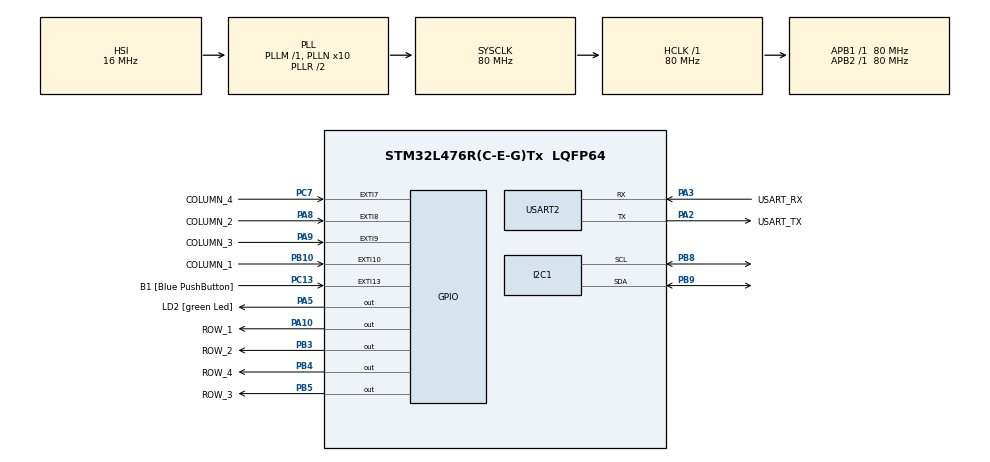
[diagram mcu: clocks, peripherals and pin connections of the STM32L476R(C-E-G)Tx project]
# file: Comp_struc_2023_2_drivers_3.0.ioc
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I2C1.Timing=0x10909CEC
Mcu.Family=STM32L4
Mcu.Name=STM32L476R(C-E-G)Tx
Mcu.Package=LQFP64
NVIC.EXTI15_10_IRQn=true\:0\:0\:false\:false\:true\:true\:true\:true
NVIC.EXTI9_5_IRQn=true\:0\:0\:false\:false\:true\:true\:true\:true
NVIC.PriorityGroup=NVIC_PRIORITYGROUP_4
NVIC.USART2_IRQn=true\:0\:0\:false\:false\:true\:true\:true\:true
PA10.GPIO_Label=ROW_1
PA10.Signal=GPIO_Output
PA13\ (JTMS-SWDIO).GPIO_Label=TMS
PA13\ (JTMS-SWDIO).Mode=Serial_Wire
PA13\ (JTMS-SWDIO).Signal=SYS_JTMS-SWDIO
PA14\ (JTCK-SWCLK).GPIO_Label=TCK
PA14\ (JTCK-SWCLK).Mode=Serial_Wire
PA14\ (JTCK-SWCLK).Signal=SYS_JTCK-SWCLK
PA2.GPIO_Label=USART_TX
PA2.GPIO_Mode=GPIO_MODE_AF_PP
PA2.GPIO_PuPd=GPIO_NOPULL
PA2.GPIO_Speed=GPIO_SPEED_FREQ_VERY_HIGH
PA2.Mode=Asynchronous
PA2.Signal=USART2_TX
PA3.GPIO_Label=USART_RX
PA3.GPIO_Mode=GPIO_MODE_AF_PP
PA3.GPIO_PuPd=GPIO_NOPULL
PA3.GPIO_Speed=GPIO_SPEED_FREQ_VERY_HIGH
PA3.Mode=Asynchronous
PA3.Signal=USART2_RX
PA5.GPIO_Label=LD2 [green Led]
PA5.GPIO_ModeDefaultOutputPP=GPIO_MODE_OUTPUT_PP
PA5.GPIO_PuPd=GPIO_NOPULL
PA5.GPIO_Speed=GPIO_SPEED_FREQ_LOW
PA5.Signal=GPIO_Output
PA8.GPIO_Label=COLUMN_2
PA8.GPIO_PuPd=GPIO_PULLDOWN
PA8.Signal=GPXTI8
PA9.GPIO_Label=COLUMN_3
PA9.GPIO_PuPd=GPIO_PULLDOWN
PA9.Signal=GPXTI9
PB10.GPIO_Label=COLUMN_1
PB10.GPIO_PuPd=GPIO_PULLDOWN
PB10.Signal=GPXTI10
PB3\ (JTDO-TRACESWO).GPIO_Label=ROW_2
PB3\ (JTDO-TRACESWO).Signal=GPIO_Output
PB4\ (NJTRST).GPIO_Label=ROW_4
PB4\ (NJTRST).Signal=GPIO_Output
PB5.GPIO_Label=ROW_3
PB5.Signal=GPIO_Output
PB8.Mode=I2C
PB8.Signal=I2C1_SCL
PB9.Mode=I2C
PB9.Signal=I2C1_SDA
PC13.GPIO_Label=B1 [Blue PushButton]
PC13.GPIO_ModeDefaultEXTI=GPIO_MODE_IT_FALLING
PC13.GPIO_PuPd=GPIO_NOPULL
PC13.Signal=GPXTI13
PC14-OSC32_IN\ (PC14).Mode=LSE-External-Oscillator
PC14-OSC32_IN\ (PC14).Signal=RCC_OSC32_IN
PC15-OSC32_OUT\ (PC15).Mode=LSE-External-Oscillator
PC15-OSC32_OUT\ (PC15).Signal=RCC_OSC32_OUT
PC7.GPIO_Label=COLUMN_4
PC7.GPIO_PuPd=GPIO_PULLDOWN
PC7.Signal=GPXTI7
PH0-OSC_IN\ (PH0).Signal=RCC_OSC_IN
PH1-OSC_OUT\ (PH1).Signal=RCC_OSC_OUT
ProjectManager.HeapSize=0x200
ProjectManager.StackSize=0x400
ProjectManager.TargetToolchain=STM32CubeIDE
RCC.ADCFreq_Value=64000000
RCC.AHBFreq_Value=80000000
RCC.APB1Freq_Value=80000000
RCC.APB1TimFreq_Value=80000000
RCC.APB2Freq_Value=80000000
RCC.APB2TimFreq_Value=80000000
RCC.CortexFreq_Value=80000000
RCC.HCLKFreq_Value=80000000
RCC.HSE_VALUE=8000000
RCC.HSI_VALUE=16000000
RCC.MSI_VALUE=4000000
RCC.PLLN=10
RCC.PLLSourceVirtual=RCC_PLLSOURCE_HSI
RCC.PREFETCH_ENABLE=1
RCC.SYSCLKFreq_VALUE=80000000
RCC.SYSCLKSource=RCC_SYSCLKSOURCE_PLLCLK
RCC.USBFreq_Value=64000000
RCC.VCOOutputFreq_Value=160000000
USART2.VirtualMode-Asynchronous=VM_ASYNC
board=NUCLEO-L476RG

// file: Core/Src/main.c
/* USER CODE BEGIN Header */
/**
  ******************************************************************************
  * @file           : main.c
  * @brief          : Main program body
  ******************************************************************************
  * @attention
  *
  * Copyright (c) 2023 STMicroelectronics.
  * All rights reserved.
  *
  * This software is licensed under terms that can be found in the LICENSE file
  * in the root directory of this software component.
  * If no LICENSE file comes with this software, it is provided AS-IS.
  *
  ******************************************************************************
  */
/* USER CODE END Header */
#include "main.h"

/* USER CODE BEGIN Includes */
#include <stdio.h>

#include "ring_buffer.h"
#include "ssd1306.h"
#include "ssd1306_fonts.h"

/* USER CODE END Includes */

I2C_HandleTypeDef hi2c1;

UART_HandleTypeDef huart2;

/* USER CODE BEGIN PV */
ring_buffer_t ring_buffer_uart_rx;
uint8_t rx_buffer[16];
uint8_t rx_data;
ring_buffer_t ring_buffer_keypad;
uint8_t keypad_data[5];
uint8_t birth_year [5] = "2002";
uint16_t key_event = 0xFF;
/* USER CODE END PV */

void SystemClock_Config(void);
static void MX_GPIO_Init(void);
static void MX_USART2_UART_Init(void);
static void MX_I2C1_Init(void);

/* USER CODE BEGIN 0 */

int _write(int file, char *ptr, int len)
{
  HAL_UART_Transmit(&huart2, (uint8_t *)ptr, len, HAL_MAX_DELAY);
  return len;
}
/**
  * @brief  Rx Transfer completed callback.
  * @param  huart UART handle.
  * @retval None
  */
void HAL_UART_RxCpltCallback(UART_HandleTypeDef *huart)
{
	if (ring_buffer_put(&ring_buffer_uart_rx, rx_data) == 0) {
		printf("Rx buffer is full\r\n");
	}

	HAL_UART_Receive_IT(&huart2, &rx_data, 1);
}

/**
  * @brief  EXTI line detection callback.
  * @param  GPIO_Pin Specifies the port pin connected
  *         to corresponding EXTI line.
  * @retval None
  */
void HAL_GPIO_EXTI_Callback(uint16_t GPIO_Pin)
{
	key_event = GPIO_Pin;
}

#include <stdio.h>  // Se asume que se incluye la librería necesaria para printf

void validate_birth_year(void) {
    uint8_t temp_buffer[5];
    for (uint8_t idx = 0; idx < 5; idx++) {
        ring_buffer_get(&ring_buffer_keypad, &temp_buffer[idx]);
    }
    if (memcmp(birth_year, temp_buffer, 5) == 0) {
        printf("Success\r\n");
    } else {
        printf("Fail\r\n");  // Corregido de 'print' a 'printf'
    }

}
void ring_buffer_init(ring_buffer_t *ring_buffer, uint8_t *buffer, uint16_t capacity);

void process_key_press (uint8_t key_pressed){
	ring_buffer_put (&ring_buffer_keypad, key_pressed);
	if (key_pressed == "*"){
		ring_buffer_reset(&ring_buffer_keypad);
	}else if (ring_buffer_is_full(&ring_buffer_keypad)!=0){
		validate_birth_year();
	}
}
/**
 * @brief This functions initialize the functionality of the keypad
 */
void keypad_init(void)
{
	/* Set the rows high to be detected in the columns by rising interrupt */
	ROW_1_GPIO_Port->BSRR = ROW_1_Pin;
	ROW_2_GPIO_Port->BSRR = ROW_2_Pin;
	ROW_3_GPIO_Port->BSRR = ROW_3_Pin;
	ROW_4_GPIO_Port->BSRR = ROW_4_Pin;
}

/**
 * @brief  This function debounces and identify keypad events.
 * @param  column_to_evaluate: the column where the event happened.
 * @retval 0xFF -> invalid key. [0x00 - 0x0F] -> valid key.
 */
uint8_t keypad_handler(uint16_t column_to_evaluate)
{
	uint8_t key_pressed = 0xFF; // Value to return

	/*** Debounce the key press (remove noise in the key) ***/
#define KEY_DEBOUNCE_MS 300 /*!> Minimum time required for since last press */
	static uint32_t last_pressed_tick = 0;
	if (HAL_GetTick() <= (last_pressed_tick + KEY_DEBOUNCE_MS)) {
		// less than KEY_DEBOUNCE_MS since last press. Probably noise
		return key_pressed; // return 0xFF
	}
	last_pressed_tick = HAL_GetTick();

	/*** Check in which column the event happened ***/
	switch (column_to_evaluate) {
	case COLUMN_1_Pin:
		ROW_1_GPIO_Port->BSRR = ROW_1_Pin; // turn on row 1
		ROW_2_GPIO_Port->BRR = ROW_2_Pin;  // turn off row 2
		ROW_3_GPIO_Port->BRR = ROW_3_Pin;  // turn off row 3
		ROW_4_GPIO_Port->BRR = ROW_4_Pin;  // turn off row 4
		HAL_Delay(2); // wait for voltage to establish
		if (COLUMN_1_GPIO_Port->IDR & COLUMN_1_Pin) {
			key_pressed = 0x01; // if column 1 is still high -> column 1 + row 1 = key 1
			break;
		}

		ROW_1_GPIO_Port->BRR = ROW_1_Pin; 	// turn off row 1
		ROW_2_GPIO_Port->BSRR = ROW_2_Pin; 	// turn on row 2
		HAL_Delay(2); // wait for voltage to establish
		if (COLUMN_1_GPIO_Port->IDR & COLUMN_1_Pin) {
			key_pressed = 0x04; // if column 1 is still high -> column 1 + row 2 = key 4
			break;
		}

		ROW_2_GPIO_Port->BRR = ROW_2_Pin; 	// turn off row 2
		ROW_3_GPIO_Port->BSRR = ROW_3_Pin; 	// turn on row 3
		HAL_Delay(2); // wait for voltage to establish
		if (COLUMN_1_GPIO_Port->IDR & COLUMN_1_Pin) {
			key_pressed = 0x07; // if column 1 is still high -> column 1 + row 3 = key 7
			break;
		}

		ROW_3_GPIO_Port->BRR = ROW_3_Pin;	// turn off row 3
		ROW_4_GPIO_Port->BSRR = ROW_4_Pin; 	// turn on row 4
		HAL_Delay(2); // wait for voltage to establish
		if (COLUMN_1_GPIO_Port->IDR & COLUMN_1_Pin) {
			key_pressed = 0x0E; // if column 1 is still high -> column 1 + row 4 = key *
			break;
		}
	  break;

	case COLUMN_2_Pin:
		ROW_1_GPIO_Port->BSRR = ROW_1_Pin; // turn on row 1
		ROW_2_GPIO_Port->BRR = ROW_2_Pin;  // turn off row 2
		ROW_3_GPIO_Port->BRR = ROW_3_Pin;  // turn off row 3
		ROW_4_GPIO_Port->BRR = ROW_4_Pin;  // turn off row 4
		HAL_Delay(2); // wait for voltage to establish
		if (COLUMN_2_GPIO_Port->IDR & COLUMN_2_Pin) {
			key_pressed = 0x02; // if column 1 is still high -> column 1 + row 1 = key 1
			break;
		}

		ROW_1_GPIO_Port->BRR = ROW_1_Pin; 	// turn off row 1
		ROW_2_GPIO_Port->BSRR = ROW_2_Pin; 	// turn on row 2
		HAL_Delay(2); // wait for voltage to establish
		if (COLUMN_2_GPIO_Port->IDR & COLUMN_2_Pin) {
			key_pressed = 0x05; // if column 1 is still high -> column 1 + row 2 = key 4
			break;
		}

		ROW_2_GPIO_Port->BRR = ROW_2_Pin; 	// turn off row 2
		ROW_3_GPIO_Port->BSRR = ROW_3_Pin; 	// turn on row 3
		HAL_Delay(2); // wait for voltage to establish
		if (COLUMN_2_GPIO_Port->IDR & COLUMN_2_Pin) {
			key_pressed = 0x08; // if column 1 is still high -> column 1 + row 3 = key 7
			break;
		}

		ROW_3_GPIO_Port->BRR = ROW_3_Pin;	// turn off row 3
		ROW_4_GPIO_Port->BSRR = ROW_4_Pin; 	// turn on row 4
		HAL_Delay(2); // wait for voltage to establish
		if (COLUMN_2_GPIO_Port->IDR & COLUMN_2_Pin) {
			key_pressed = 0x00; // if column 1 is still high -> column 1 + row 4 = key *
			break;
		}
	  break;

	case COLUMN_3_Pin:
		ROW_1_GPIO_Port->BSRR = ROW_1_Pin; // turn on row 1
		ROW_2_GPIO_Port->BRR = ROW_2_Pin;  // turn off row 2
		ROW_3_GPIO_Port->BRR = ROW_3_Pin;  // turn off row 3
		ROW_4_GPIO_Port->BRR = ROW_4_Pin;  // turn off row 4
		HAL_Delay(2); // wait for voltage to establish
		if (COLUMN_3_GPIO_Port->IDR & COLUMN_3_Pin) {
			key_pressed = 0x03; // if column 1 is still high -> column 1 + row 1 = key 1
			break;
		}

		ROW_1_GPIO_Port->BRR = ROW_1_Pin; 	// turn off row 1
		ROW_2_GPIO_Port->BSRR = ROW_2_Pin; 	// turn on row 2
		HAL_Delay(2); // wait for voltage to establish
		if (COLUMN_3_GPIO_Port->IDR & COLUMN_3_Pin) {
			key_pressed = 0x06; // if column 1 is still high -> column 1 + row 2 = key 4
			break;
		}

		ROW_2_GPIO_Port->BRR = ROW_2_Pin; 	// turn off row 2
		ROW_3_GPIO_Port->BSRR = ROW_3_Pin; 	// turn on row 3
		HAL_Delay(2); // wait for voltage to establish
		if (COLUMN_3_GPIO_Port->IDR & COLUMN_3_Pin) {
			key_pressed = 0x09; // if column 1 is still high -> column 1 + row 3 = key 7
			break;
		}

		ROW_3_GPIO_Port->BRR = ROW_3_Pin;	// turn off row 3
		ROW_4_GPIO_Port->BSRR = ROW_4_Pin; 	// turn on row 4
		HAL_Delay(2); // wait for voltage to establish
		if (COLUMN_3_GPIO_Port->IDR & COLUMN_3_Pin) {
			key_pressed = 0x0F; // if column 1 is still high -> column 1 + row 4 = key *
			break;
		}
	  break;

	case COLUMN_4_Pin:
		ROW_1_GPIO_Port->BSRR = ROW_1_Pin; // turn on row 1
		ROW_2_GPIO_Port->BRR = ROW_2_Pin;  // turn off row 2
		ROW_3_GPIO_Port->BRR = ROW_3_Pin;  // turn off row 3
		ROW_4_GPIO_Port->BRR = ROW_4_Pin;  // turn off row 4
		HAL_Delay(2); // wait for voltage to establish
		if (COLUMN_4_GPIO_Port->IDR & COLUMN_4_Pin) {
			key_pressed = 0x0A; // if column 1 is still high -> column 1 + row 1 = key 1
			break;
		}

		ROW_1_GPIO_Port->BRR = ROW_1_Pin; 	// turn off row 1
		ROW_2_GPIO_Port->BSRR = ROW_2_Pin; 	// turn on row 2
		HAL_Delay(2); // wait for voltage to establish
		if (COLUMN_4_GPIO_Port->IDR & COLUMN_4_Pin) {
			key_pressed = 0x0B; // if column 1 is still high -> column 1 + row 2 = key 4
			break;
		}

		ROW_2_GPIO_Port->BRR = ROW_2_Pin; 	// turn off row 2
		ROW_3_GPIO_Port->BSRR = ROW_3_Pin; 	// turn on row 3
		HAL_Delay(2); // wait for voltage to establish
		if (COLUMN_4_GPIO_Port->IDR & COLUMN_4_Pin) {
			key_pressed = 0x0C; // if column 1 is still high -> column 1 + row 3 = key 7
			break;
		}

		ROW_3_GPIO_Port->BRR = ROW_3_Pin;	// turn off row 3
		ROW_4_GPIO_Port->BSRR = ROW_4_Pin; 	// turn on row 4
		HAL_Delay(2); // wait for voltage to establish
		if (COLUMN_4_GPIO_Port->IDR & COLUMN_4_Pin) {
			key_pressed = 0x0D; // if column 1 is still high -> column 1 + row 4 = key *
			break;
		}
	  break;
	/*!\ TODO: Implement other column cases here */

	default:
		/* This should not be reached */
		printf("Unknown column: %x\r\n", column_to_evaluate);
	  break;
	}

	keypad_init(); // set the columns high again
	return key_pressed; // invalid: 0xFF, valid:[0x00-0x0F]
}
/* USER CODE END 0 */

int main(void)
{

  /* MCU Configuration--------------------------------------------------------*/

  /* Reset of all peripherals, Initializes the Flash interface and the Systick. */
  HAL_Init();

  /* Configure the system clock */
  SystemClock_Config();

  /* Initialize all configured peripherals */
  MX_GPIO_Init();
  MX_USART2_UART_Init();
  MX_I2C1_Init();

  /* USER CODE BEGIN 2 */
  ring_buffer_init(&ring_buffer_keypad, keypad_data, 5);
  ring_buffer_init(&ring_buffer_uart_rx, rx_buffer, 16);

  HAL_UART_Receive_IT(&huart2, &rx_data, 1);

  keypad_init(); // Initialize the keypad functionality
  ssd1306_Init();
  ssd1306_Fill(Black);
  ssd1306_SetCursor(20, 20);
  ssd1306_WriteString("Hello World!", Font_7x10, White);
  ssd1306_UpdateScreen();
  /* USER CODE END 2 */

  /* Infinite loop */
  /* USER CODE BEGIN WHILE */
  while (1)
  {
	  if (key_event != 0xFF) { // check if there is a event from the EXTi callback
		  uint16_t key_pressed = keypad_handler(key_event); // call the keypad handler

		  if (key_pressed != 0xFF) {
			                              // print the key pressed
			  process_key_press(key_pressed);

		  }
		  key_event = 0xFF; // clean the event
	  }
    /* USER CODE END WHILE */

  }
}

void SystemClock_Config(void)
{
  RCC_OscInitTypeDef RCC_OscInitStruct = {0};
  RCC_ClkInitTypeDef RCC_ClkInitStruct = {0};

  /** Configure the main internal regulator output voltage
  */
  if (HAL_PWREx_ControlVoltageScaling(PWR_REGULATOR_VOLTAGE_SCALE1) != HAL_OK)
  {
    Error_Handler();
  }

  /** Initializes the RCC Oscillators according to the specified parameters
  * in the RCC_OscInitTypeDef structure.
  */
  RCC_OscInitStruct.OscillatorType = RCC_OSCILLATORTYPE_HSI;
  RCC_OscInitStruct.HSIState = RCC_HSI_ON;
  RCC_OscInitStruct.HSICalibrationValue = RCC_HSICALIBRATION_DEFAULT;
  RCC_OscInitStruct.PLL.PLLState = RCC_PLL_ON;
  RCC_OscInitStruct.PLL.PLLSource = RCC_PLLSOURCE_HSI;
  RCC_OscInitStruct.PLL.PLLM = 1;
  RCC_OscInitStruct.PLL.PLLN = 10;
  RCC_OscInitStruct.PLL.PLLP = RCC_PLLP_DIV7;
  RCC_OscInitStruct.PLL.PLLQ = RCC_PLLQ_DIV2;
  RCC_OscInitStruct.PLL.PLLR = RCC_PLLR_DIV2;
  if (HAL_RCC_OscConfig(&RCC_OscInitStruct) != HAL_OK)
  {
    Error_Handler();
  }

  /** Initializes the CPU, AHB and APB buses clocks
  */
  RCC_ClkInitStruct.ClockType = RCC_CLOCKTYPE_HCLK|RCC_CLOCKTYPE_SYSCLK
                              |RCC_CLOCKTYPE_PCLK1|RCC_CLOCKTYPE_PCLK2;
  RCC_ClkInitStruct.SYSCLKSource = RCC_SYSCLKSOURCE_PLLCLK;
  RCC_ClkInitStruct.AHBCLKDivider = RCC_SYSCLK_DIV1;
  RCC_ClkInitStruct.APB1CLKDivider = RCC_HCLK_DIV1;
  RCC_ClkInitStruct.APB2CLKDivider = RCC_HCLK_DIV1;

  if (HAL_RCC_ClockConfig(&RCC_ClkInitStruct, FLASH_LATENCY_4) != HAL_OK)
  {
    Error_Handler();
  }
}

static void MX_I2C1_Init(void)
{

  hi2c1.Instance = I2C1;
  hi2c1.Init.Timing = 0x10909CEC;
  hi2c1.Init.OwnAddress1 = 0;
  hi2c1.Init.AddressingMode = I2C_ADDRESSINGMODE_7BIT;
  hi2c1.Init.DualAddressMode = I2C_DUALADDRESS_DISABLE;
  hi2c1.Init.OwnAddress2 = 0;
  hi2c1.Init.OwnAddress2Masks = I2C_OA2_NOMASK;
  hi2c1.Init.GeneralCallMode = I2C_GENERALCALL_DISABLE;
  hi2c1.Init.NoStretchMode = I2C_NOSTRETCH_DISABLE;
  if (HAL_I2C_Init(&hi2c1) != HAL_OK)
  {
    Error_Handler();
  }

  /** Configure Analogue filter
  */
  if (HAL_I2CEx_ConfigAnalogFilter(&hi2c1, I2C_ANALOGFILTER_ENABLE) != HAL_OK)
  {
    Error_Handler();
  }

  /** Configure Digital filter
  */
  if (HAL_I2CEx_ConfigDigitalFilter(&hi2c1, 0) != HAL_OK)
  {
    Error_Handler();
  }

}

static void MX_USART2_UART_Init(void)
{

  huart2.Instance = USART2;
  huart2.Init.BaudRate = 115200;
  huart2.Init.WordLength = UART_WORDLENGTH_8B;
  huart2.Init.StopBits = UART_STOPBITS_1;
  huart2.Init.Parity = UART_PARITY_NONE;
  huart2.Init.Mode = UART_MODE_TX_RX;
  huart2.Init.HwFlowCtl = UART_HWCONTROL_NONE;
  huart2.Init.OverSampling = UART_OVERSAMPLING_16;
  huart2.Init.OneBitSampling = UART_ONE_BIT_SAMPLE_DISABLE;
  huart2.AdvancedInit.AdvFeatureInit = UART_ADVFEATURE_NO_INIT;
  if (HAL_UART_Init(&huart2) != HAL_OK)
  {
    Error_Handler();
  }

}

static void MX_GPIO_Init(void)
{
  GPIO_InitTypeDef GPIO_InitStruct = {0};

  /* GPIO Ports Clock Enable */
  __HAL_RCC_GPIOC_CLK_ENABLE();
  __HAL_RCC_GPIOH_CLK_ENABLE();
  __HAL_RCC_GPIOA_CLK_ENABLE();
  __HAL_RCC_GPIOB_CLK_ENABLE();

  /*Configure GPIO pin Output Level */
  HAL_GPIO_WritePin(GPIOA, LD2_Pin|ROW_1_Pin, GPIO_PIN_RESET);

  /*Configure GPIO pin Output Level */
  HAL_GPIO_WritePin(GPIOB, ROW_2_Pin|ROW_4_Pin|ROW_3_Pin, GPIO_PIN_RESET);

  /*Configure GPIO pin : B1_Pin */
  GPIO_InitStruct.Pin = B1_Pin;
  GPIO_InitStruct.Mode = GPIO_MODE_IT_FALLING;
  GPIO_InitStruct.Pull = GPIO_NOPULL;
  HAL_GPIO_Init(B1_GPIO_Port, &GPIO_InitStruct);

  /*Configure GPIO pins : LD2_Pin ROW_1_Pin */
  GPIO_InitStruct.Pin = LD2_Pin|ROW_1_Pin;
  GPIO_InitStruct.Mode = GPIO_MODE_OUTPUT_PP;
  GPIO_InitStruct.Pull = GPIO_NOPULL;
  GPIO_InitStruct.Speed = GPIO_SPEED_FREQ_LOW;
  HAL_GPIO_Init(GPIOA, &GPIO_InitStruct);

  /*Configure GPIO pin : COLUMN_1_Pin */
  GPIO_InitStruct.Pin = COLUMN_1_Pin;
  GPIO_InitStruct.Mode = GPIO_MODE_IT_RISING;
  GPIO_InitStruct.Pull = GPIO_PULLDOWN;
  HAL_GPIO_Init(COLUMN_1_GPIO_Port, &GPIO_InitStruct);

  /*Configure GPIO pin : COLUMN_4_Pin */
  GPIO_InitStruct.Pin = COLUMN_4_Pin;
  GPIO_InitStruct.Mode = GPIO_MODE_IT_RISING;
  GPIO_InitStruct.Pull = GPIO_PULLDOWN;
  HAL_GPIO_Init(COLUMN_4_GPIO_Port, &GPIO_InitStruct);

  /*Configure GPIO pins : COLUMN_2_Pin COLUMN_3_Pin */
  GPIO_InitStruct.Pin = COLUMN_2_Pin|COLUMN_3_Pin;
  GPIO_InitStruct.Mode = GPIO_MODE_IT_RISING;
  GPIO_InitStruct.Pull = GPIO_PULLDOWN;
  HAL_GPIO_Init(GPIOA, &GPIO_InitStruct);

  /*Configure GPIO pins : ROW_2_Pin ROW_4_Pin ROW_3_Pin */
  GPIO_InitStruct.Pin = ROW_2_Pin|ROW_4_Pin|ROW_3_Pin;
  GPIO_InitStruct.Mode = GPIO_MODE_OUTPUT_PP;
  GPIO_InitStruct.Pull = GPIO_NOPULL;
  GPIO_InitStruct.Speed = GPIO_SPEED_FREQ_LOW;
  HAL_GPIO_Init(GPIOB, &GPIO_InitStruct);

  /* EXTI interrupt init*/
  HAL_NVIC_SetPriority(EXTI9_5_IRQn, 0, 0);
  HAL_NVIC_EnableIRQ(EXTI9_5_IRQn);

  HAL_NVIC_SetPriority(EXTI15_10_IRQn, 0, 0);
  HAL_NVIC_EnableIRQ(EXTI15_10_IRQn);

}

void Error_Handler(void)
{
  __disable_irq();
  while (1)
  {
  }
}
